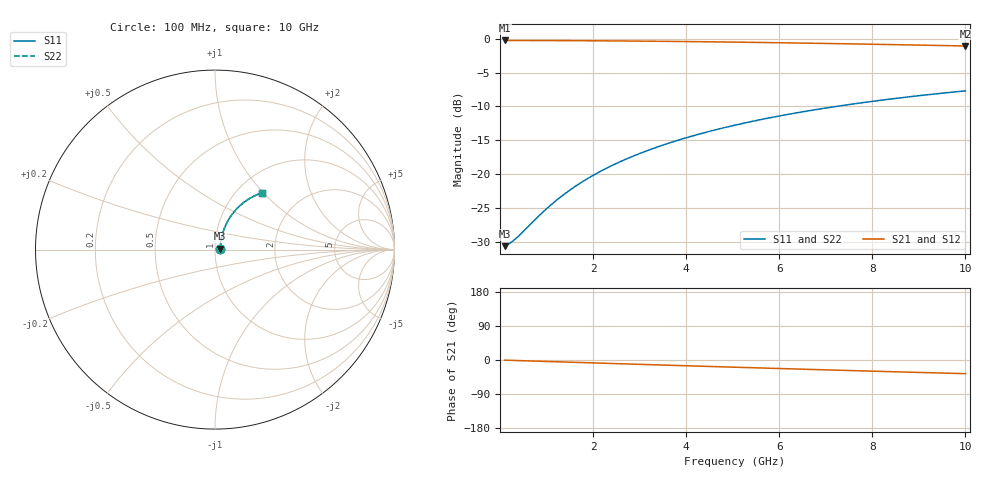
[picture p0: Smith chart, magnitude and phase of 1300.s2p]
# Hz S RI R 50.00
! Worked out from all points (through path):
!   100 points, 100 MHz to 10 GHz, reference 50 ohm
!   highest |S21| = -0.26 dB at 100 MHz (marker M1); lowest = -1.1 dB at 10 GHz (marker M2)
!   group delay of S21, straight-line fit = 10 ps
!   lowest |S11| = -30.6 dB at 100 MHz (marker M3), VSWR 1.06, Z = 53 + j0.477 ohm
!   |S11| at or under -10 dB: start of sweep to 7.224 GHz
!   |S22| runs from -30.6 to -7.7 dB; largest |S21 - S12| = 1e-12
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1e8  0.0291 0.0045  0.9709 -0.00651  0.9709 -0.00651  0.0291 0.0045
2e8  0.0293 0.00899  0.9707 -0.013  0.9707 -0.013  0.0293 0.00899
3e8  0.0296 0.0135  0.9704 -0.0195  0.9704 -0.0195  0.0296 0.0135
4e8  0.0299 0.018  0.97 -0.026  0.97 -0.026  0.0299 0.018
9e8  0.0323 0.0403  0.9675 -0.0584  0.9675 -0.0584  0.0323 0.0403
1.2e9  0.0343 0.0535  0.9654 -0.0777  0.9654 -0.0777  0.0343 0.0535
1.5e9  0.0369 0.0667  0.9626 -0.0969  0.9626 -0.0969  0.0369 0.0667
1.8e9  0.0399 0.0797  0.9594 -0.116  0.9594 -0.116  0.0399 0.0797
2.1e9  0.0435 0.0926  0.9556 -0.1349  0.9556 -0.1349  0.0435 0.0926
2.5e9  0.049 0.1095  0.9497 -0.1598  0.9497 -0.1598  0.049 0.1095
2.9e9  0.0554 0.1259  0.9429 -0.1844  0.9429 -0.1844  0.0554 0.1259
3.4e9  0.0644 0.1459  0.9331 -0.2144  0.9331 -0.2144  0.0644 0.1459
3.8e9  0.0726 0.1613  0.9244 -0.2379  0.9244 -0.2379  0.0726 0.1613
4.2e9  0.0815 0.1762  0.9148 -0.2609  0.9148 -0.2609  0.0815 0.1762
4.6e9  0.091 0.1905  0.9045 -0.2834  0.9045 -0.2834  0.091 0.1905
5.1e9  0.1039 0.2076  0.8906 -0.3105  0.8906 -0.3105  0.1039 0.2076
5.9e9  0.1264 0.2327  0.8663 -0.3519  0.8663 -0.3519  0.1264 0.2327
6.7e9  0.1508 0.255  0.8397 -0.3906  0.8397 -0.3906  0.1508 0.255
7.5e9  0.1768 0.2745  0.8113 -0.4265  0.8113 -0.4265  0.1768 0.2745
8.4e9  0.2074 0.2929  0.7776 -0.4633  0.7776 -0.4633  0.2074 0.2929
9.2e9  0.2355 0.3061  0.7465 -0.4931  0.7465 -0.4931  0.2355 0.3061
1e10  0.264 0.3164  0.7146 -0.52  0.7146 -0.52  0.264 0.3164
